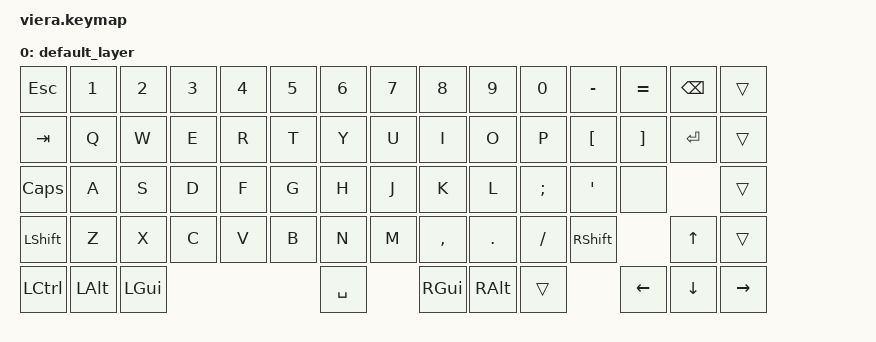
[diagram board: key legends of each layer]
#include <behaviors.dtsi>
#include <dt-bindings/zmk/bt.h>
#include <dt-bindings/zmk/keys.h>

/ {
    // behaviors {
    //     f1_bt_0: f1_bt_0 {
    //         compatible = "zmk,behavior-mod-morph";
    //         label = "f1_bt_0";
    //         #binding-cells = <0>;
    //         bindings = <&kp F1>, <&bt BT_SEL 0>;
    //         mods = <(MOD_LSFT|MOD_RSFT)>;
    //     };

    //     f2_bt_1: f2_bt_1 {
    //         compatible = "zmk,behavior-mod-morph";
    //         label = "f2_bt_1";
    //         #binding-cells = <0>;
    //         bindings = <&kp F2>, <&bt BT_SEL 1>;
    //         mods = <(MOD_LSFT|MOD_RSFT)>;
    //     };

    //     f3_bt_2: f3_bt_2 {
    //         compatible = "zmk,behavior-mod-morph";
    //         label = "f3_bt_2";
    //         #binding-cells = <0>;
    //         bindings = <&kp F3>, <&bt BT_SEL 2>;
    //         mods = <(MOD_LSFT|MOD_RSFT)>;
    //     };

    //     f4_bt_3: f4_bt_3 {
    //         compatible = "zmk,behavior-mod-morph";
    //         label = "f4_bt_3";
    //         #binding-cells = <0>;
    //         bindings = <&kp F4>, <&bt BT_SEL 3>;
    //         mods = <(MOD_LSFT|MOD_RSFT)>;
    //     };

    //     f11_bt_clear: f11_bt_clear {
    //         compatible = "zmk,behavior-mod-morph";
    //         label = "f11_bt_clear";
    //         #binding-cells = <0>;
    //         bindings = <&kp F11>, <&bt BT_CLR_ALL>;
    //         mods = <(MOD_LSFT|MOD_RSFT)>;
    //     };

    //     f12_reset: f12_reset {
    //         compatible = "zmk,behavior-mod-morph";
    //         label = "f12_reset";
    //         #binding-cells = <0>;
    //         bindings = <&kp F12>, <&sys_reset>;
    //         mods = <(MOD_LSFT|MOD_RSFT)>;
    //     };
    // };
    
    keymap {
        compatible = "zmk,keymap";

        default_layer {
            bindings = <
&kp ESC    &kp N1    &kp N2    &kp N3  &kp N4  &kp N5  &kp N6     &kp N7  &kp N8     &kp N9    &kp N0    &kp MINUS  &kp EQUAL       &kp BSPC        &trans
&kp TAB    &kp Q     &kp W     &kp E   &kp R   &kp T   &kp Y      &kp U   &kp I      &kp O     &kp P     &kp LBKT   &kp RBKT        &kp ENTER       &trans
&kp CAPS   &kp A     &kp S     &kp D   &kp F   &kp G   &kp H      &kp J   &kp K      &kp L     &kp SEMI  &kp APOS   &none                           &trans
&kp LSHFT  &kp Z     &kp X     &kp C   &kp V   &kp B   &kp N      &kp M   &kp COMMA  &kp DOT   &kp FSLH  &kp RSHFT                  &kp UP_ARROW    &trans
&kp LCTRL  &kp LALT  &kp LGUI                          &kp SPACE          &kp RGUI   &kp RALT  &trans               &kp LEFT_ARROW  &kp DOWN_ARROW  &kp RIGHT_ARROW
            >;
        };
    };
};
